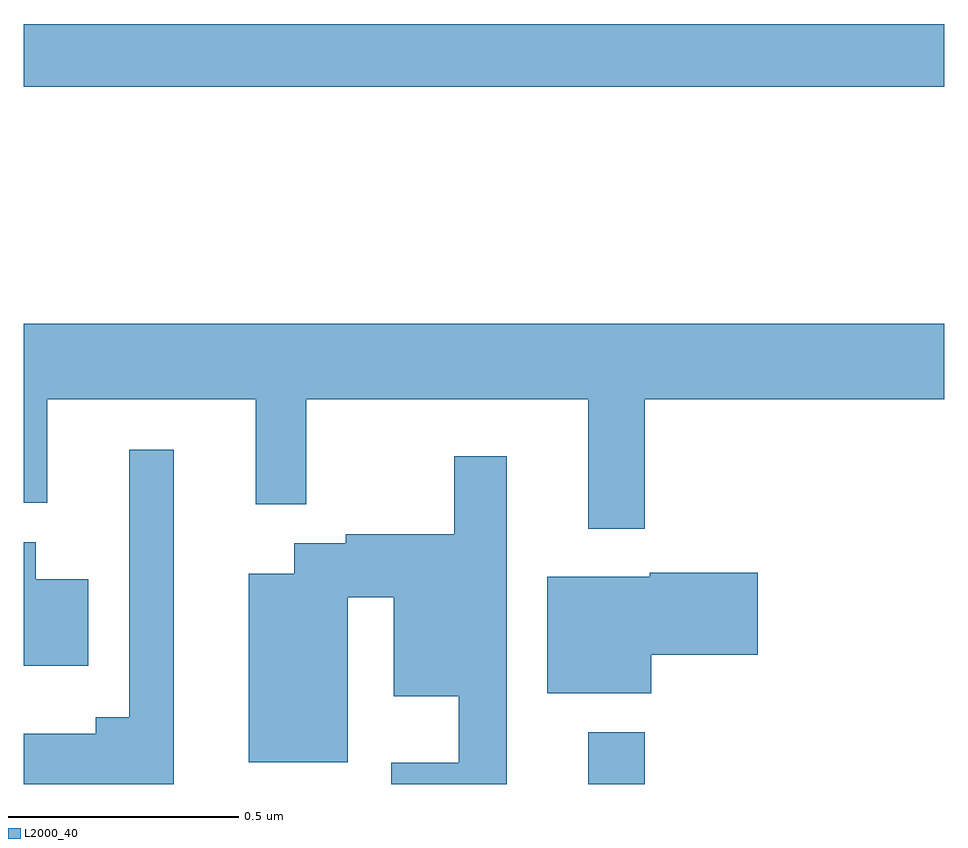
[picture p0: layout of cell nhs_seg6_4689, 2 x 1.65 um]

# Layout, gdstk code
import gdstk
lib = gdstk.Library(unit=1e-6, precision=1e-09)
def R(c, l, rs):  # rectangles x0, y0, x1, y1
    for r in rs: c.add(gdstk.rectangle(r[:2], r[2:], *l))
def P(c, l, *ps):  # polygons
    for p in ps: c.add(gdstk.Polygon(p, *l))
L2000_40 = (2000, 40)

nhs_seg6_4689 = lib.new_cell('nhs_seg6_4689')
R(nhs_seg6_4689, L2000_40, [(174.227,946.5,174.349,946.612), (173,948.016,175,948.152)])
P(nhs_seg6_4689, L2000_40, [(174.349,947.336),(175,947.336),(175,947.5),(173,947.5),(173,947.111),(173.051,947.111),(173.051,947.336),(173.504,947.336),(173.504,947.108),(173.614,947.108),(173.614,947.336),(174.227,947.336),(174.227,947.055),(174.349,947.055)],
  [(173.326,947.227),(173.229,947.227),(173.229,946.645),(173.156,946.645),(173.156,946.609),(173,946.609),(173,946.5),(173.326,946.5)],
  [(174.049,947.212),(173.935,947.212),(173.935,947.043),(173.7,947.043),(173.7,947.023),(173.588,947.023),(173.588,946.957),(173.489,946.957),(173.489,946.547),(173.704,946.547),(173.704,946.906),(173.804,946.906),(173.804,946.691),(173.945,946.691),(173.945,946.546),(173.798,946.546),(173.798,946.5),(174.049,946.5)],
  [(173.14,946.945),(173.026,946.945),(173.026,947.026),(173,947.026),(173,946.757),(173.14,946.757)],
  [(174.364,946.781),(174.595,946.781),(174.595,946.959),(174.36,946.959),(174.36,946.951),(174.137,946.951),(174.137,946.697),(174.364,946.697)])

lib.write_gds('nhs_seg6_4689.gds')
